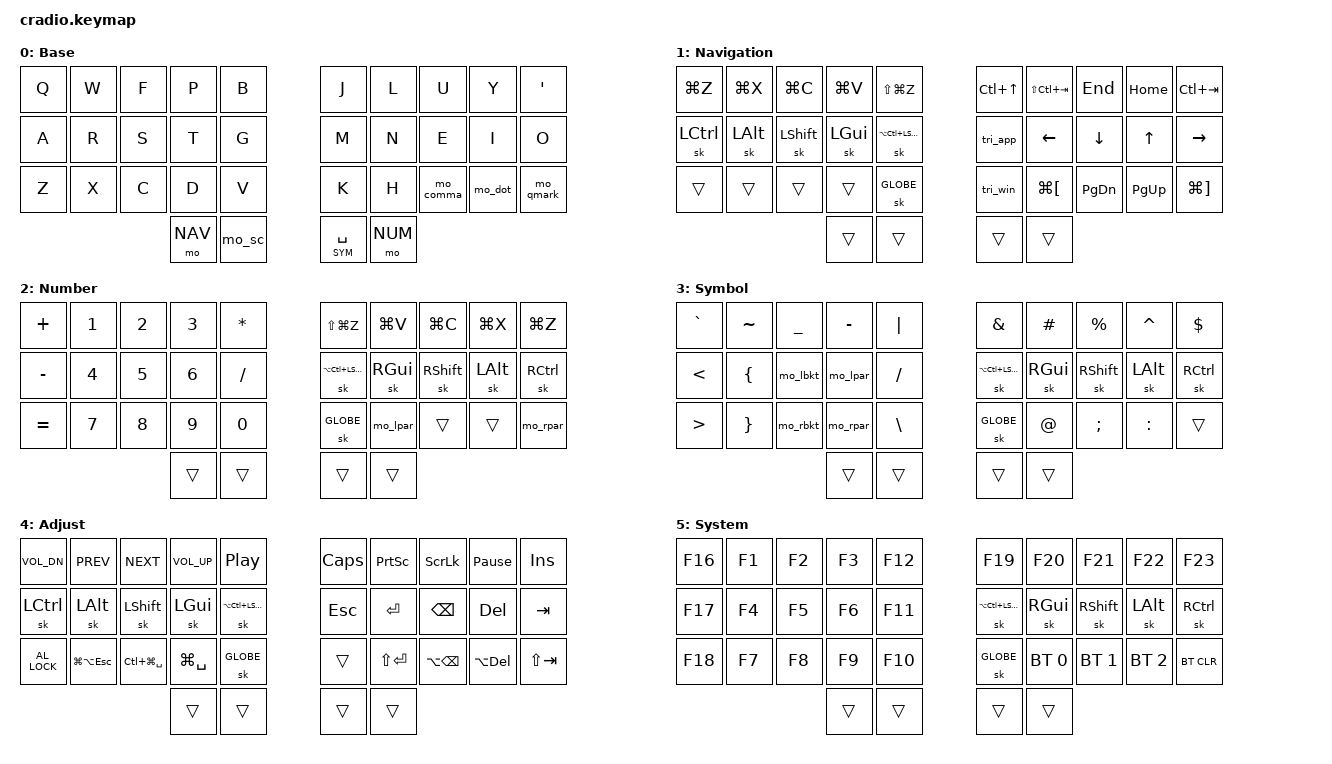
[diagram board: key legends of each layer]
// Inspired by Miryoku, Seniply, and urob
// https://github.com/urob/zmk-config

#include <behaviors.dtsi>
#include <dt-bindings/zmk/bt.h>
#include <dt-bindings/zmk/keys.h>

// Layers
#define BASE    0
#define NAV     1
#define NUM     2
#define SYM     3
#define ADJUST  4
#define SYS     5

/ {
    conditional_layers {
        compatible = "zmk,conditional-layers";

        tri_layer {
            if-layers = <NAV NUM>;
            then-layer = <ADJUST>;
        };

        quad_layer {
            if-layers = <NAV SYM>;
            then-layer = <SYS>;
        };
    };
};

// Tuning
#define TAPPING_TERM_MS 175
#define COMBO_TIMEOUT_MS 40
#define COMBO_PRIOR_IDLE_MS 50
#define STICKY_TIMEOUT_MS 2000

// Overrides
&sk {
    release-after-ms = <STICKY_TIMEOUT_MS>;
    quick-release;
};

&lt {
    tapping-term-ms = <120>;
    quick-tap-ms = <200>;
    flavor = "tap-preferred"; // default "tap-preferred", also "hold-preferred", "balanced"
};

&soft_off {
    hold-time-ms = <2000>;
};

/ {
    behaviors {
        mo_dot: morph_period {
            compatible = "zmk,behavior-mod-morph";
            display-name = "Period - Colon";

            #binding-cells = <0>;
            bindings = <&kp PERIOD>, <&kp COLON>;
            mods = <(MOD_LSFT|MOD_RSFT)>;
        };

        mo_comma: morph_comma {
            compatible = "zmk,behavior-mod-morph";
            display-name = "Comma - Semicolon";

            #binding-cells = <0>;
            bindings = <&kp COMMA>, <&kp SEMICOLON>;
            mods = <(MOD_LSFT|MOD_RSFT)>;
        };

        mo_qmark: morph_question {
            compatible = "zmk,behavior-mod-morph";
            display-name = "Question - Exclamation";

            #binding-cells = <0>;
            bindings = <&kp QUESTION>, <&kp EXCLAMATION>;
            mods = <(MOD_LSFT|MOD_RSFT)>;
        };

        mo_lpar: morph_left_parenthesis {
            compatible = "zmk,behavior-mod-morph";
            display-name = "Left Parens - Brace";

            #binding-cells = <0>;
            bindings = <&kp LEFT_PARENTHESIS>, <&kp LEFT_BRACE>;
            mods = <(MOD_LSFT|MOD_RSFT)>;
        };

        mo_rpar: morph_right_parenthesis {
            compatible = "zmk,behavior-mod-morph";
            display-name = "Right Parens - Brace";

            #binding-cells = <0>;
            bindings = <&kp RIGHT_PARENTHESIS>, <&kp RIGHT_BRACE>;
            mods = <(MOD_LSFT|MOD_RSFT)>;
        };

        mo_lbkt: morph_left_bracket {
            compatible = "zmk,behavior-mod-morph";
            display-name = "Left Bracket - Angle Bracket";

            #binding-cells = <0>;
            bindings = <&kp LEFT_BRACKET>, <&kp LESS_THAN>;
            mods = <(MOD_LSFT|MOD_RSFT)>;
        };

        mo_rbkt: morph_right_bracket {
            compatible = "zmk,behavior-mod-morph";
            display-name = "Right Bracket - Angle Bracket";

            #binding-cells = <0>;
            bindings = <&kp RIGHT_BRACKET>, <&kp GREATER_THAN>;
            mods = <(MOD_LSFT|MOD_RSFT)>;
        };

        mo_sc: morph_shift_caps {
            compatible = "zmk,behavior-mod-morph";
            display-name = "Shift-Caps";

            #binding-cells = <0>;
            bindings = <&sk LSHIFT>, <&caps_word>;
            mods = <(MOD_LSFT)>;
        };

        tri_app: tri_app_swap {
            compatible = "zmk,behavior-tri-state";

            display-name = "App Swapper";
            #binding-cells = <0>;
            bindings = <&kt LGUI>, <&kp TAB>, <&kt LGUI>;
        };

        tri_win: tri_win_swap {
            compatible = "zmk,behavior-tri-state";

            display-name = "Window Swapper";
            #binding-cells = <0>;
            bindings = <&kt LGUI>, <&kp GRAVE>, <&kt LGUI>;
        };
    };
};

/ {
    combos {
        compatible = "zmk,combos";

        cmb_esc_l {
            bindings = <&kp ESCAPE>;
            key-positions = <0 1>;
            timeout-ms = <COMBO_TIMEOUT_MS>;
            require-prior-idle-ms = <COMBO_PRIOR_IDLE_MS>;
        };

        cmb_esc_r {
            bindings = <&kp ESCAPE>;
            key-positions = <8 9>;
            timeout-ms = <COMBO_TIMEOUT_MS>;
            require-prior-idle-ms = <COMBO_PRIOR_IDLE_MS>;
        };
    };
};

// Shorthands
#define TAB_L     LS(LC(TAB))         // Switch tab left
#define TAB_R     LC(TAB)             // Switch tab right
#define BACK      LG(LEFT_BRACKET)    // Go Back in history
#define FWRD      LG(RIGHT_BRACKET)   // Go Forward in history
#define FQUIT     LG(LA(ESCAPE))      // Force Quit/Task Manager
#define EXPOS     LC(UP)              // Reveal windows
#define EMOJI     LC(LG(SPACE))       // Emoji Picker
#define SPOT      LG(SPACE)           // Spotlight
#define MEH       LA(LC(LEFT_SHIFT))
#define CUTT      LG(X)             // These are already defined internally,
#define COPYY     LG(C)             // hence the dumb names
#define PASTEE    LG(V)
#define UNDOO     LG(Z)
#define REDOO     LS(LG(Z))

/ {
    keymap {
        compatible = "zmk,keymap";

        default_layer {
            display-name = "Base";
            bindings = <
//╭─────────────┬─────────────┬─────────────┬─────────────┬─────────────╮ ╭─────────────┬─────────────┬─────────────┬─────────────┬─────────────╮
       &kp Q         &kp W         &kp F         &kp P         &kp B           &kp J         &kp L         &kp U         &kp Y        &kp APOS
//├─────────────┼─────────────┼─────────────┼─────────────┼─────────────┤ ├─────────────┼─────────────┼─────────────┼─────────────┼─────────────┤
       &kp A         &kp R         &kp S         &kp T         &kp G           &kp M         &kp N         &kp E         &kp I         &kp O
//├─────────────┼─────────────┼─────────────┼─────────────┼─────────────┤ ├─────────────┼─────────────┼─────────────┼─────────────┼─────────────┤
       &kp Z         &kp X         &kp C         &kp D         &kp V           &kp K         &kp H       &mo_comma      &mo_dot      &mo_qmark
//╰─────────────┼─────────────┴─────────────┼─────────────┼─────────────┤ ├─────────────┼─────────────┼─────────────┴───────────────────────────╯
                                                &mo NAV        &mo_sc      &lt SYM SPACE    &mo NUM
//                                          ╰─────────────┴─────────────╯ ╰─────────────┴─────────────╯
            >;
        };

        nav_layer {
            display-name = "Navigation";
            bindings = <
//╭─────────────┬─────────────┬─────────────┬─────────────┬─────────────╮ ╭─────────────┬─────────────┬─────────────┬─────────────┬─────────────╮
     &kp UNDOO      &kp CUTT     &kp COPYY    &kp PASTEE     &kp REDOO       &kp EXPOS     &kp TAB_L      &kp END       &kp HOME     &kp TAB_R
//├─────────────┼─────────────┼─────────────┼─────────────┼─────────────┤ ├─────────────┼─────────────┼─────────────┼─────────────┼─────────────┤
     &sk LCTRL      &sk LALT     &sk LSHFT     &sk LGUI       &sk MEH         &tri_app     &kp LEFT      &kp DOWN        &kp UP      &kp RIGHT
//├─────────────┼─────────────┼─────────────┼─────────────┼─────────────┤ ├─────────────┼─────────────┼─────────────┼─────────────┼─────────────┤
      &trans         &trans       &trans        &trans       &sk GLOBE        &tri_win     &kp BACK      &kp PG_DN     &kp PG_UP      &kp FWRD
//╰─────────────┼─────────────┴─────────────┼─────────────┼─────────────┤ ├─────────────┼─────────────┼─────────────┴───────────────────────────╯
                                                &trans        &trans           &trans        &trans
//                                          ╰─────────────┴─────────────╯ ╰─────────────┴─────────────╯

            >;
        };

        num_layer {
            display-name = "Number";
            bindings = <
//╭─────────────┬─────────────┬─────────────┬─────────────┬─────────────╮ ╭─────────────┬─────────────┬─────────────┬─────────────┬─────────────╮
     &kp PLUS        &kp N1       &kp N2        &kp N3       &kp STAR                    &kp REDOO  &kp PASTEE  &kp COPYY  &kp CUTT  &kp UNDOO
//├─────────────┼─────────────┼─────────────┼─────────────┼─────────────┤ ├─────────────┼─────────────┼─────────────┼─────────────┼─────────────┤
     &kp MINUS       &kp N4       &kp N5        &kp N6       &kp SLASH                    &sk MEH   &sk RGUI  &sk RSHFT &sk LALT &sk RCTRL
//├─────────────┼─────────────┼─────────────┼─────────────┼─────────────┤ ├─────────────┼─────────────┼─────────────┼─────────────┼─────────────┤
     &kp EQUAL       &kp N7       &kp N8        &kp N9         &kp N0                       &sk GLOBE &mo_lpar  &trans  &trans   &mo_rpar
//╰─────────────┼─────────────┴─────────────┼─────────────┼─────────────┤ ├─────────────┼─────────────┼─────────────┴───────────────────────────╯
                                                 &trans       &trans                  &trans  &trans
//                                          ╰─────────────┴─────────────╯ ╰─────────────┴─────────────╯
            >;
        };

        symbol_layer {
            display-name = "Symbol";
            bindings = <
                &kp GRAVE &kp TILDE  &kp UNDER    &kp MINUS   &kp PIPE          &kp AMPS  &kp HASH    &kp PRCNT   &kp CARET   &kp DLLR
                &kp LT   &kp LBRC    &mo_lbkt    &mo_lpar    &kp SLASH          &sk MEH   &sk RGUI    &sk RSHFT   &sk LALT    &sk RCTRL
                &kp GT   &kp RBRC    &mo_rbkt    &mo_rpar    &kp BSLH           &sk GLOBE &kp AT      &kp SEMI    &kp COLON   &trans
                                                &trans  &trans                  &trans  &trans
            >;
        };

        adjust_layer {
            display-name = "Adjust";
            bindings = <
                &kp C_VOL_DN  &kp C_PREV  &kp C_NEXT  &kp C_VOL_UP &kp C_PP     &kp CAPS &kp PSCRN &kp SLCK &kp PAUSE_BREAK &kp INS
                &sk LCTRL  &sk LALT    &sk LSHFT  &sk LGUI &sk MEH              &kp ESC  &kp RET   &kp BSPC &kp DEL &kp TAB
                &kp C_AL_LOCK  &kp FQUIT &kp EMOJI  &kp SPOT  &sk GLOBE         &trans   &kp LS(RET)  &kp LA(BSPC) &kp LA(DEL) &kp LS(TAB)
                                                        &trans  &trans           &trans  &trans
            >;
        };

        sys_layer {
            display-name = "System";
            bindings = <
                &kp F16 &kp F1  &kp F2  &kp F3  &kp F12                     &kp F19  &kp F20  &kp F21 &kp F22 &kp F23
                &kp F17 &kp F4  &kp F5  &kp F6  &kp F11                     &sk MEH  &sk RGUI  &sk RSHFT  &sk LALT  &sk RCTRL
                &kp F18 &kp F7  &kp F8  &kp F9  &kp F10                     &sk GLOBE &bt BT_SEL 0 &bt BT_SEL 1 &bt BT_SEL 2 &bt BT_CLR
                                        &trans   &trans                      &trans  &trans
            >;
        };

        extra_1 {
            status = "reserved";
        };

        extra_2 {
            status = "reserved";
        };
    };
};
